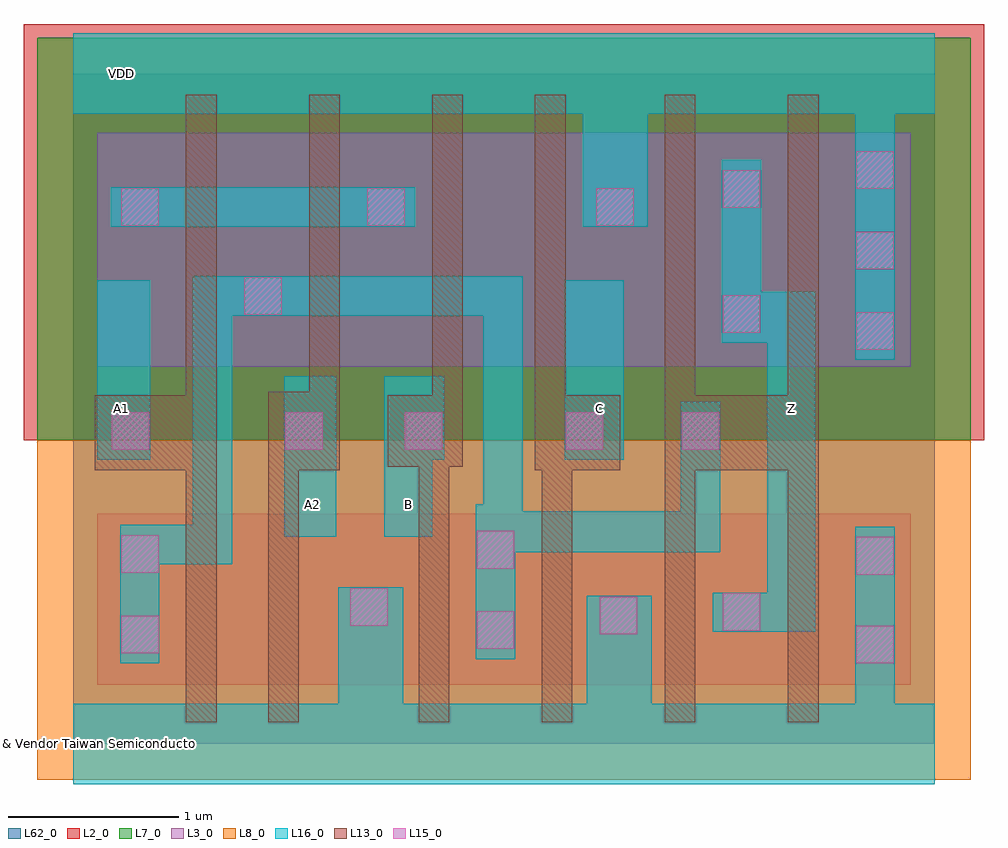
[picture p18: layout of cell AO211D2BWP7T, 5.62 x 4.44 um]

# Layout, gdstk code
import gdstk
lib = gdstk.Library(unit=1e-6, precision=1e-09)
def R(c, l, rs):  # rectangles x0, y0, x1, y1
    for r in rs: c.add(gdstk.rectangle(r[:2], r[2:], *l))
def A(c, l, x, y, w, h, nx, ny, dx, dy):  # array of equal rectangles
    R(c, l, [(x+i*dx, y+j*dy, x+i*dx+w, y+j*dy+h) for i in range(nx) for j in range(ny)])
def P(c, l, *ps):  # polygons
    for p in ps: c.add(gdstk.Polygon(p, *l))
L2_0 = (2, 0)
L3_0 = (3, 0)
L7_0 = (7, 0)
L8_0 = (8, 0)
L13_0 = (13, 0)
L15_0 = (15, 0)
L16_0 = (16, 0)
L62_0 = (62, 0)

ao211d2bwp7t = lib.new_cell('AO211D2BWP7T')
R(ao211d2bwp7t, L2_0, [(-0.29,1.775,5.33,4.21)])
R(ao211d2bwp7t, L3_0, [(0.14,0.345,4.9,1.345), (0.14,2.205,4.9,3.575)])
R(ao211d2bwp7t, L7_0, [(-0.21,1.775,5.25,4.13)])
R(ao211d2bwp7t, L8_0, [(-0.21,-0.21,5.25,1.775)])
P(ao211d2bwp7t, L13_0, [(0.66,0.125),(0.66,1.6),(0.125,1.6),(0.125,2.04),(0.66,2.04),(0.66,3.795),(0.84,3.795),(0.84,0.125)],
  [(3.46,0.125),(3.46,3.795),(3.64,3.795),(3.64,2.04),(4.18,2.04),(4.18,3.795),(4.36,3.795),(4.36,0.125),(4.18,0.125),(4.18,1.6),(3.64,1.6),(3.64,0.125)],
  [(2.74,0.125),(2.74,1.6),(2.7,1.6),(2.7,3.795),(2.88,3.795),(2.88,2.04),(3.2,2.04),(3.2,1.6),(2.92,1.6),(2.92,0.125)],
  [(2.02,0.125),(2.02,1.62),(1.84,1.62),(1.84,2.04),(2.1,2.04),(2.1,3.795),(2.28,3.795),(2.28,1.62),(2.2,1.62),(2.2,0.125)],
  [(1.14,0.125),(1.14,2.06),(1.38,2.06),(1.38,3.795),(1.56,3.795),(1.56,1.6),(1.32,1.6),(1.32,0.125)])
A(ao211d2bwp7t, L15_0, 4.58, 2.305, 0.22, 0.22, 1, 3, 0, 0.47)
R(ao211d2bwp7t, L15_0, [(4.58,0.47,4.8,0.69), (0.28,0.53,0.5,0.75), (2.36,0.555,2.58,0.775), (3.08,0.64,3.3,0.86), (3.8,0.66,4.02,0.88), (1.62,0.69,1.84,0.91), (4.58,0.99,4.8,1.21), (0.28,1,0.5,1.22), (2.36,1.025,2.58,1.245), (0.225,1.72,0.445,1.94), (1.24,1.72,1.46,1.94), (1.94,1.72,2.16,1.94), (2.88,1.72,3.1,1.94), (3.56,1.72,3.78,1.94), (3.8,2.405,4.02,2.625), (1,2.51,1.22,2.73), (0.28,3.03,0.5,3.25), (1.72,3.03,1.94,3.25), (3.06,3.03,3.28,3.25), (3.8,3.135,4.02,3.355)])
R(ao211d2bwp7t, L16_0, [(1.235,1.21,1.54,2.15), (0.14,1.66,0.45,2.71), (2.875,1.66,3.22,2.71), (0.22,3.025,2,3.255)])
P(ao211d2bwp7t, L16_0, [(0,-0.235),(0,0.235),(1.55,0.235),(1.55,0.915),(1.93,0.915),(1.93,0.235),(3.005,0.235),(3.005,0.865),(3.385,0.865),(3.385,0.235),(4.575,0.235),(4.575,1.27),(4.805,1.27),(4.805,0.235),(5.04,0.235),(5.04,-0.235)],
  [(4.575,2.245),(4.575,3.685),(3.36,3.685),(3.36,3.025),(2.98,3.025),(2.98,3.685),(0,3.685),(0,4.155),(5.04,4.155),(5.04,3.685),(4.805,3.685),(4.805,2.245)],
  [(3.74,0.655),(3.74,0.885),(4.06,0.885),(4.06,2.345),(3.795,2.345),(3.795,3.415),(4.025,3.415),(4.025,2.645),(4.34,2.645),(4.34,0.655)],
  [(0.275,0.47),(0.275,1.28),(0.7,1.28),(0.7,2.735),(2.63,2.735),(2.63,1.36),(3.555,1.36),(3.555,2),(3.785,2),(3.785,1.12),(2.585,1.12),(2.585,0.495),(2.355,0.495),(2.355,1.4),(2.4,1.4),(2.4,2.505),(0.93,2.505),(0.93,1.05),(0.505,1.05),(0.505,0.47)],
  [(1.82,1.21),(1.82,2.15),(2.17,2.15),(2.17,1.66),(2.1,1.66),(2.1,1.21)])
R(ao211d2bwp7t, L62_0, [(0,0,5.04,3.92)])
ao211d2bwp7t.add(gdstk.Label('& Vendor Taiwan Semiconductor Manufacturing Corp.', (0,0), layer=63, texttype=63))
ao211d2bwp7t.add(gdstk.Label('& Product tcb018gbwp7t', (0,0), layer=63, texttype=63))
ao211d2bwp7t.add(gdstk.Label('& Version 270a', (0,0), layer=63, texttype=63))
ao211d2bwp7t.add(gdstk.Label('& Metric 19.757', (0,0), layer=63, texttype=63))
ao211d2bwp7t.add(gdstk.Label('& Distributor TSMC', (0,0), layer=63, texttype=63))
ao211d2bwp7t.add(gdstk.Label('& SerialNumber 000000', (0,0), layer=63, texttype=63))
ao211d2bwp7t.add(gdstk.Label('& _Instance_tag AO211D2BWP7T', (0,0), layer=63, texttype=63))
ao211d2bwp7t.add(gdstk.Label('& Vendor Taiwan Semiconductor Manufacturing Corp.', (0,0), layer=11, texttype=0))
ao211d2bwp7t.add(gdstk.Label('& Product tcb018gbwp7t', (0,0), layer=11, texttype=0))
ao211d2bwp7t.add(gdstk.Label('& Version 270a', (0,0), layer=11, texttype=0))
ao211d2bwp7t.add(gdstk.Label('& Metric 19.757', (0,0), layer=11, texttype=0))
ao211d2bwp7t.add(gdstk.Label('& Distributor TSMC', (0,0), layer=11, texttype=0))
ao211d2bwp7t.add(gdstk.Label('& SerialNumber 000000', (0,0), layer=11, texttype=0))
ao211d2bwp7t.add(gdstk.Label('& _Instance_tag AO211D2BWP7T', (0,0), layer=11, texttype=0))
ao211d2bwp7t.add(gdstk.Label('AO211D2BWP7T', (0,0), layer=59, texttype=0))
ao211d2bwp7t.add(gdstk.Label('VSS', (0.28,0), layer=40, texttype=0))
ao211d2bwp7t.add(gdstk.Label('A1', (0.28,1.96), layer=40, texttype=0))
ao211d2bwp7t.add(gdstk.Label('VDD', (0.28,3.92), layer=40, texttype=0))
ao211d2bwp7t.add(gdstk.Label('A2', (1.4,1.4), layer=40, texttype=0))
ao211d2bwp7t.add(gdstk.Label('B', (1.96,1.4), layer=40, texttype=0))
ao211d2bwp7t.add(gdstk.Label('C', (3.08,1.96), layer=40, texttype=0))
ao211d2bwp7t.add(gdstk.Label('Z', (4.2,1.96), layer=40, texttype=0))

lib.write_gds('AO211D2BWP7T.gds')
